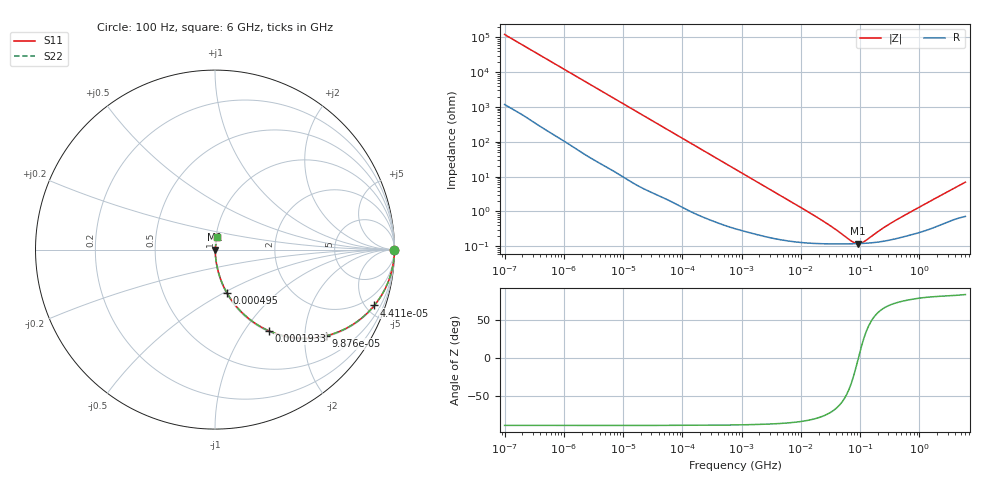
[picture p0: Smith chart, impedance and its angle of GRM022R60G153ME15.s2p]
!Murata Part Number: GRM022R60G153ME15
!These Parameters are Measured in Series Mode Connection
!Data Generated on Mar 30, 2021
!  o--ll--o
!Port1  Port2
!  o------o
!Operation Temp=25[degC], DC Bias Voltage=0[V]
!Freq. Start=100[Hz] Stop=6[GHz] 401[Steps]
# Hz S RI R 50
!Freq.(Hz) S11(Real) S11(Imag) S21(Real) S21(Imag) S12(Real) S12(Imag) S22(Real) S22(Imag)
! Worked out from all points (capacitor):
!   401 points, 100 Hz to 6 GHz, reference 50 ohm
!   read as one part in series: C = 13.1 nF near 109 Hz
!   lowest |Z| = 119 mohm at 93.27 MHz (marker M1)
!   series resonance near 93.86 MHz, so ESL is about 220 pH
!   S11 on the Smith chart (normalised r, x): 100 Hz: open; 44.11 kHz: 1.05, -5.68; 98.76 kHz: 1.03, -2.55; 193.3 kHz: 1.02, -1.31; 495 kHz: 1.01, -0.51; 6 GHz: 1.01, +0.14
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100  1 -0.000824  8.7e-06 0.000824  8.7e-06 0.000824  1 -0.000824
2008  0.9996 -0.0163  0.000394 0.0163  0.000394 0.0163  0.9996 -0.0163
11514  0.9908 -0.0915  0.00917 0.0915  0.00917 0.0915  0.9908 -0.0915
21550  0.9698 -0.1671  0.0302 0.1671  0.0302 0.1671  0.9698 -0.1671
40335  0.9039 -0.2902  0.0961 0.2902  0.0961 0.2902  0.9039 -0.2902
44113  0.8875 -0.3113  0.1125 0.3113  0.1125 0.3113  0.8875 -0.3113
66005  0.7815 -0.4083  0.2185 0.4083  0.2185 0.4083  0.7815 -0.4083
98762  0.6182 -0.4807  0.3818 0.4807  0.3818 0.4807  0.6182 -0.4807
135116  0.4663 -0.4935  0.5337 0.4935  0.5337 0.4935  0.4663 -0.4935
193316  0.3018 -0.4533  0.6982 0.4533  0.6982 0.4533  0.3018 -0.4533
302498  0.1528 -0.3532  0.8472 0.3532  0.8472 0.3532  0.1528 -0.3532
495019  0.0653 -0.2392  0.9347 0.2392  0.9347 0.2392  0.0653 -0.2392
774597  0.0294 -0.1594  0.9706 0.1594  0.9706 0.1594  0.0294 -0.1594
2481164  0.00458 -0.0517  0.9954 0.0517  0.9954 0.0517  0.00458 -0.0517
1.555665e7  0.00128 -0.00818  0.9987 0.00818  0.9987 0.00818  0.00128 -0.00818
3.330331e7  0.00118 -0.00344  0.9988 0.00344  0.9988 0.00344  0.00118 -0.00344
7.129496e7  0.00118 -0.000776  0.9988 0.000776  0.9988 0.000776  0.00118 -0.000776
9.326766e7  0.00119 -1.74e-05  0.9988 1.74e-05  0.9988 1.74e-05  0.00119 -1.74e-05
1.220122e8  0.00122 0.000736  0.9988 -0.000736  0.9988 -0.000736  0.00122 0.000736
3.124326e8  0.00151 0.00406  0.9985 -0.00406  0.9985 -0.00406  0.00151 0.00406
1.791126e9  0.00397 0.0225  0.996 -0.0225  0.996 -0.0225  0.00397 0.0225
6e9  0.0118 0.0678  0.9882 -0.0678  0.9882 -0.0678  0.0118 0.0678
